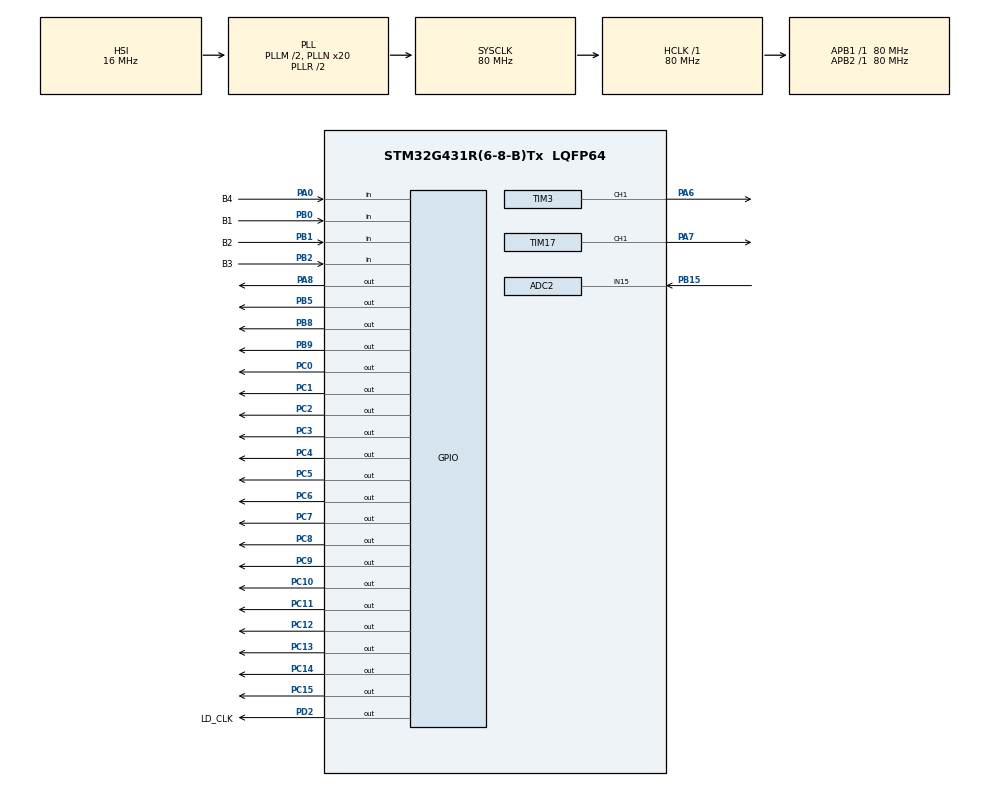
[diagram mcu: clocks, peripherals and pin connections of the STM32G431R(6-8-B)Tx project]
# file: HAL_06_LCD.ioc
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ADC2.Channel-0\#ChannelRegularConversion=ADC_CHANNEL_15
ADC2.NbrOfConversionFlag=1
ADC2.OffsetNumber-0\#ChannelRegularConversion=ADC_OFFSET_NONE
ADC2.Rank-0\#ChannelRegularConversion=1
ADC2.SamplingTime-0\#ChannelRegularConversion=ADC_SAMPLETIME_2CYCLES_5
Dma.ADC2.0.Direction=DMA_PERIPH_TO_MEMORY
Dma.ADC2.0.EventEnable=DISABLE
Dma.ADC2.0.Instance=DMA1_Channel1
Dma.ADC2.0.MemDataAlignment=DMA_MDATAALIGN_WORD
Dma.ADC2.0.MemInc=DMA_MINC_ENABLE
Dma.ADC2.0.Mode=DMA_CIRCULAR
Dma.ADC2.0.PeriphDataAlignment=DMA_PDATAALIGN_WORD
Dma.ADC2.0.PeriphInc=DMA_PINC_DISABLE
Dma.ADC2.0.Polarity=HAL_DMAMUX_REQ_GEN_RISING
Dma.ADC2.0.Priority=DMA_PRIORITY_LOW
Dma.ADC2.0.RequestNumber=1
Dma.ADC2.0.SignalID=NONE
Dma.ADC2.0.SyncEnable=DISABLE
Dma.ADC2.0.SyncPolarity=HAL_DMAMUX_SYNC_NO_EVENT
Dma.ADC2.0.SyncRequestNumber=1
Dma.ADC2.0.SyncSignalID=NONE
Dma.Request0=ADC2
Mcu.Family=STM32G4
Mcu.Name=STM32G431R(6-8-B)Tx
Mcu.Package=LQFP64
NVIC.DMA1_Channel1_IRQn=true\:0\:0\:false\:false\:true\:false\:true
NVIC.PriorityGroup=NVIC_PRIORITYGROUP_4
PA0.GPIO_Label=B4
PA0.GPIO_PuPd=GPIO_PULLUP
PA0.Signal=GPIO_Input
PA6.Signal=S_TIM3_CH1
PA7.Signal=S_TIM17_CH1
PA8.Signal=GPIO_Output
PB0.GPIO_Label=B1
PB0.GPIO_PuPd=GPIO_PULLUP
PB0.Signal=GPIO_Input
PB1.GPIO_Label=B2
PB1.GPIO_PuPd=GPIO_PULLUP
PB1.Signal=GPIO_Input
PB15.Mode=IN15-Single-Ended
PB15.Signal=ADC2_IN15
PB2.GPIO_Label=B3
PB2.GPIO_PuPd=GPIO_PULLUP
PB2.Signal=GPIO_Input
PB5.Signal=GPIO_Output
PB8-BOOT0.Signal=GPIO_Output
PB9.Signal=GPIO_Output
PC0.Signal=GPIO_Output
PC1.Signal=GPIO_Output
PC10.Signal=GPIO_Output
PC11.Signal=GPIO_Output
PC12.Signal=GPIO_Output
PC13.Signal=GPIO_Output
PC14-OSC32_IN.Signal=GPIO_Output
PC15-OSC32_OUT.Signal=GPIO_Output
PC2.Signal=GPIO_Output
PC3.Signal=GPIO_Output
PC4.Signal=GPIO_Output
PC5.Signal=GPIO_Output
PC6.Signal=GPIO_Output
PC7.Signal=GPIO_Output
PC8.Signal=GPIO_Output
PC9.Signal=GPIO_Output
PD2.GPIO_Label=LD_CLK
PD2.Signal=GPIO_Output
PF0-OSC_IN.Mode=HSE-External-Oscillator
PF0-OSC_IN.Signal=RCC_OSC_IN
PF1-OSC_OUT.Mode=HSE-External-Oscillator
PF1-OSC_OUT.Signal=RCC_OSC_OUT
ProjectManager.HeapSize=0x200
ProjectManager.StackSize=0x400
ProjectManager.TargetToolchain=MDK-ARM V5.27
RCC.ADC12Freq_Value=80000000
RCC.AHBFreq_Value=80000000
RCC.APB1Freq_Value=80000000
RCC.APB1TimFreq_Value=80000000
RCC.APB2Freq_Value=80000000
RCC.APB2TimFreq_Value=80000000
RCC.CortexFreq_Value=80000000
RCC.EXTERNAL_CLOCK_VALUE=12288000
RCC.HCLKFreq_Value=80000000
RCC.HSE_VALUE=24000000
RCC.HSI48_VALUE=48000000
RCC.HSI_VALUE=16000000
RCC.LSE_VALUE=32768
RCC.PLLM=RCC_PLLM_DIV2
RCC.PLLN=20
RCC.SYSCLKFreq_VALUE=80000000
RCC.SYSCLKSource=RCC_SYSCLKSOURCE_PLLCLK
RCC.USBFreq_Value=80000000
RCC.VCOOutputFreq_Value=160000000
SH.S_TIM17_CH1.0=TIM17_CH1,PWM Generation1 CH1
SH.S_TIM3_CH1.0=TIM3_CH1,PWM Generation1 CH1
TIM17.Channel=TIM_CHANNEL_1
TIM17.PeriodNoDither=100-1
TIM17.Prescaler=8000-1
TIM3.Channel-PWM\ Generation1\ CH1=TIM_CHANNEL_1
TIM3.PeriodNoDither=100-1
TIM3.Prescaler=8000-1
VP_SYS_VS_DBSignals.Mode=DisableDeadBatterySignals
VP_TIM17_VS_ClockSourceINT.Mode=Enable_Timer
VP_TIM3_VS_ClockSourceINT.Mode=Internal
board=custom

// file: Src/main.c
/* USER CODE BEGIN Header */
/**
  ******************************************************************************
  * @file           : main.c
  * @brief          : Main program body
  ******************************************************************************
  * @attention
  *
  * <h2><center>&copy; Copyright (c) 2021 STMicroelectronics.
  * All rights reserved.</center></h2>
  *
  * This software component is licensed by ST under BSD 3-Clause license,
  * the "License"; You may not use this file except in compliance with the
  * License. You may obtain a copy of the License at:
  *                        opensource.org/licenses/BSD-3-Clause
  *
  ******************************************************************************
  */
/* USER CODE END Header */
#include "main.h"

/* USER CODE BEGIN Includes */
#include <stdio.h>
#include "lcd.h"
/* USER CODE END Includes */

/* USER CODE BEGIN PD */
//界面
#define DISPLAYVIEW 1
#define SETTINGVIEW 2

//模式
#define AUTOMODE 1
#define MANUMODE 2
/* USER CODE END PD */

/* USER CODE BEGIN PM */
#define KB1 HAL_GPIO_ReadPin(B1_GPIO_Port, B1_Pin)
#define KB2 HAL_GPIO_ReadPin(B2_GPIO_Port, B2_Pin)
#define KB3 HAL_GPIO_ReadPin(B3_GPIO_Port, B3_Pin)
#define KB4 HAL_GPIO_ReadPin(B4_GPIO_Port, B4_Pin)
/* USER CODE END PM */

ADC_HandleTypeDef hadc2;
DMA_HandleTypeDef hdma_adc2;

TIM_HandleTypeDef htim3;
TIM_HandleTypeDef htim17;

/* USER CODE BEGIN PV */
_Bool Key_Flag = 0;//按键的标志位
_Bool Adc_Flag = 0;//ADC的标志位

uint32_t Led_Val;
uint8_t View_Model = DISPLAYVIEW;
float V_Val = 0.0;//测得的电压值
uint32_t Adc_buf[10];//存放ADC采集的值
uint8_t Mode_Val = AUTOMODE;

uint8_t PA6_Val = 10;
uint8_t PA7_Val = 10;
/* USER CODE END PV */

void SystemClock_Config(void);
static void MX_GPIO_Init(void);
static void MX_DMA_Init(void);
static void MX_TIM3_Init(void);
static void MX_ADC2_Init(void);
static void MX_TIM17_Init(void);

/* USER CODE BEGIN 0 */
void TurnOff_LEDS()
{
	Led_Val = 0xFF00;
	HAL_GPIO_WritePin(LD_CLK_GPIO_Port, LD_CLK_Pin, GPIO_PIN_SET);
	GPIOC->ODR = Led_Val;
	HAL_GPIO_WritePin(LD_CLK_GPIO_Port, LD_CLK_Pin, GPIO_PIN_RESET);
}

void TurnOn_LED(uint8_t _led)
{
	Led_Val &= ~(0x01 << ( 7 + _led));
	HAL_GPIO_WritePin(LD_CLK_GPIO_Port, LD_CLK_Pin, GPIO_PIN_SET);
	GPIOC->ODR = Led_Val;
	HAL_GPIO_WritePin(LD_CLK_GPIO_Port, LD_CLK_Pin, GPIO_PIN_RESET);
}

void TurnOff_LED(uint8_t _led)
{
	Led_Val |= (0x01 << ( 7 + _led));
	HAL_GPIO_WritePin(LD_CLK_GPIO_Port, LD_CLK_Pin, GPIO_PIN_SET);
	GPIOC->ODR = Led_Val;
	HAL_GPIO_WritePin(LD_CLK_GPIO_Port, LD_CLK_Pin, GPIO_PIN_RESET);
}

void Display_Proc()
{
	uint8_t buf[30];

	switch(View_Model)
	{
		case DISPLAYVIEW:
		{
			sprintf((char *)buf, "      Data");
			LCD_DisplayStringLine(Line0, buf);
			sprintf((char *)buf, "    V:%.2fV", V_Val);
			LCD_DisplayStringLine(Line2, buf);
			if(Mode_Val == AUTOMODE)
			{
				uint8_t mode_buf[] = "AUTO";
				sprintf((char *)buf, "    Mode:%s", mode_buf);
				__HAL_TIM_SET_COMPARE(&htim3, TIM_CHANNEL_1, (uint32_t)V_Val/3.3f*100);
				__HAL_TIM_SET_COMPARE(&htim17, TIM_CHANNEL_1, (uint32_t)V_Val/3.3f*100);
				HAL_TIM_PWM_Start(&htim3, TIM_CHANNEL_1);
				HAL_TIM_PWM_Start(&htim17, TIM_CHANNEL_1);
			}else{
				uint8_t mode_buf[] = "MANU";
				__HAL_TIM_SET_COMPARE(&htim3, TIM_CHANNEL_1, (uint32_t)PA6_Val);
				__HAL_TIM_SET_COMPARE(&htim17, TIM_CHANNEL_1, (uint32_t)PA7_Val);
				HAL_TIM_PWM_Start(&htim3, TIM_CHANNEL_1);
				HAL_TIM_PWM_Start(&htim17, TIM_CHANNEL_1);
				sprintf((char *)buf, "    Mode:%s", mode_buf);
			}
			LCD_DisplayStringLine(Line4, buf);
		}
			break;
		case SETTINGVIEW:
		{
			sprintf((char *)buf, "      Para");
			LCD_DisplayStringLine(Line0, buf);
			sprintf((char *)buf, "    PA6:%d%%", PA6_Val);
			LCD_DisplayStringLine(Line2, buf);
			sprintf((char *)buf, "    PA7:%d%%", PA7_Val);
			LCD_DisplayStringLine(Line4, buf);
		}
			break;
	}
}
//ADC均值滤波
float Adc_Proc(uint32_t _buf[])
{
	uint8_t i, j;
	float Adc_Val = 0;
	float temp;
	for(i = 0; i < 10 - 1; i++)
	{
		for(j = 0; j < 10 - 1 - i; j++)
		{
			if (_buf[j] < _buf[j+1])
			{
					temp = _buf[j];
					_buf[j] = _buf[j+1];
					_buf[j+1] = temp;
			}
		}
	}

	for(i = 1; i < 10-1; i++)
    	Adc_Val += _buf[i];
	return (Adc_Val / 8) / 4096 * 3.3f;
}

void Key_Proc()
{
	//按键1 用于界面切换
	static uint8_t b1_sum;
	if(KB1 == 0)
	{
		b1_sum++;
		if(b1_sum == 1)
		{
			if(View_Model == DISPLAYVIEW)
			{
				View_Model = SETTINGVIEW;
				TurnOff_LED(2);
				LCD_Clear(Black);
			}else if(View_Model == SETTINGVIEW){
				View_Model = DISPLAYVIEW;
				TurnOn_LED(2);
				LCD_Clear(Black);
			}
		}
	}
	if(KB1 == 1)
	{
		b1_sum = 0;
	}

	//按键2 用于PA6的占空比增加
	static uint8_t b2_sum;
	if(KB2 == 0)
	{
		b2_sum++;
		if(b2_sum == 1 && View_Model == SETTINGVIEW)
		{
			PA6_Val += 10;
			if(PA6_Val > 90)
				PA6_Val = 10;
		}
	}
	if(KB2 == 1)
	{
		b2_sum = 0;
	}

	//按键3 用于PA7的占空比增加
	static uint8_t b3_sum;
	if(KB3 == 0)
	{
		b3_sum++;
		if(b3_sum == 1 && View_Model == SETTINGVIEW)
		{
			PA7_Val += 10;
			if(PA7_Val > 90)
				PA7_Val = 10;
		}
	}
	if(KB3 == 1)
	{
		b3_sum = 0;
	}

	//按键4 用于模式切换
	static uint8_t b4_sum;
	if(KB4 == 0)
	{
		b4_sum++;
		if(b4_sum == 1)
		{
			if(Mode_Val == AUTOMODE)
			{
				Mode_Val = MANUMODE;
				TurnOff_LED(1);
			}else if(Mode_Val == MANUMODE){
				Mode_Val = AUTOMODE;
				TurnOn_LED(1);
			}
		}
	}
	if(KB4 == 1)
	{
		b4_sum = 0;
	}
}
/* USER CODE END 0 */

int main(void)
{

  /* MCU Configuration--------------------------------------------------------*/

  /* Reset of all peripherals, Initializes the Flash interface and the Systick. */
  HAL_Init();

  /* Configure the system clock */
  SystemClock_Config();

  /* Initialize all configured peripherals */
  MX_GPIO_Init();
  MX_DMA_Init();
  MX_TIM3_Init();
  MX_ADC2_Init();
  MX_TIM17_Init();
  /* USER CODE BEGIN 2 */

	LCD_Init();
	//校准ADC
	HAL_ADCEx_Calibration_Start(&hadc2, ADC_SINGLE_ENDED);
	//开启ADC的DMA方式采集
	HAL_ADC_Start_DMA(&hadc2, (uint32_t *)&Adc_buf,10);
  /* USER CODE END 2 */

  /* Infinite loop */
  /* USER CODE BEGIN WHILE */

	LCD_Clear(Black);
	LCD_SetBackColor(Black);
	LCD_SetTextColor(White);
	TurnOff_LEDS();
	TurnOn_LED(1);
	TurnOn_LED(2);
  while (1)
  {
		Display_Proc();
    /* USER CODE END WHILE */

    /* USER CODE BEGIN 3 */
		if(Key_Flag)
		{
			Key_Flag = 0;
			Key_Proc();
		}
		if(Adc_Flag)
		{
			Adc_Flag = 0;
			HAL_ADC_Start_DMA(&hadc2, (uint32_t *)&Adc_buf,10);
		}

		if(V_Val >= 3.29f || V_Val == 0.0f)
		{
			if(V_Val == 0.0f)
			{
				__HAL_TIM_SET_COMPARE(&htim3, TIM_CHANNEL_1, 0);
				__HAL_TIM_SET_COMPARE(&htim17, TIM_CHANNEL_1, 0);
			}else{
				//占空比拉满设置成高电平
				__HAL_TIM_SET_COMPARE(&htim3, TIM_CHANNEL_1, 100);
				__HAL_TIM_SET_COMPARE(&htim17, TIM_CHANNEL_1, 100);
			}
		}

  }
  /* USER CODE END 3 */
}

void SystemClock_Config(void)
{
  RCC_OscInitTypeDef RCC_OscInitStruct = {0};
  RCC_ClkInitTypeDef RCC_ClkInitStruct = {0};
  RCC_PeriphCLKInitTypeDef PeriphClkInit = {0};

  /** Configure the main internal regulator output voltage
  */
  HAL_PWREx_ControlVoltageScaling(PWR_REGULATOR_VOLTAGE_SCALE1);
  /** Initializes the RCC Oscillators according to the specified parameters
  * in the RCC_OscInitTypeDef structure.
  */
  RCC_OscInitStruct.OscillatorType = RCC_OSCILLATORTYPE_HSI;
  RCC_OscInitStruct.HSIState = RCC_HSI_ON;
  RCC_OscInitStruct.HSICalibrationValue = RCC_HSICALIBRATION_DEFAULT;
  RCC_OscInitStruct.PLL.PLLState = RCC_PLL_ON;
  RCC_OscInitStruct.PLL.PLLSource = RCC_PLLSOURCE_HSI;
  RCC_OscInitStruct.PLL.PLLM = RCC_PLLM_DIV2;
  RCC_OscInitStruct.PLL.PLLN = 20;
  RCC_OscInitStruct.PLL.PLLP = RCC_PLLP_DIV2;
  RCC_OscInitStruct.PLL.PLLQ = RCC_PLLQ_DIV2;
  RCC_OscInitStruct.PLL.PLLR = RCC_PLLR_DIV2;
  if (HAL_RCC_OscConfig(&RCC_OscInitStruct) != HAL_OK)
  {
    Error_Handler();
  }
  /** Initializes the CPU, AHB and APB buses clocks
  */
  RCC_ClkInitStruct.ClockType = RCC_CLOCKTYPE_HCLK|RCC_CLOCKTYPE_SYSCLK
                              |RCC_CLOCKTYPE_PCLK1|RCC_CLOCKTYPE_PCLK2;
  RCC_ClkInitStruct.SYSCLKSource = RCC_SYSCLKSOURCE_PLLCLK;
  RCC_ClkInitStruct.AHBCLKDivider = RCC_SYSCLK_DIV1;
  RCC_ClkInitStruct.APB1CLKDivider = RCC_HCLK_DIV1;
  RCC_ClkInitStruct.APB2CLKDivider = RCC_HCLK_DIV1;

  if (HAL_RCC_ClockConfig(&RCC_ClkInitStruct, FLASH_LATENCY_2) != HAL_OK)
  {
    Error_Handler();
  }
  /** Initializes the peripherals clocks
  */
  PeriphClkInit.PeriphClockSelection = RCC_PERIPHCLK_ADC12;
  PeriphClkInit.Adc12ClockSelection = RCC_ADC12CLKSOURCE_SYSCLK;
  if (HAL_RCCEx_PeriphCLKConfig(&PeriphClkInit) != HAL_OK)
  {
    Error_Handler();
  }
}

static void MX_ADC2_Init(void)
{

  ADC_ChannelConfTypeDef sConfig = {0};

  /** Common config
  */
  hadc2.Instance = ADC2;
  hadc2.Init.ClockPrescaler = ADC_CLOCK_SYNC_PCLK_DIV2;
  hadc2.Init.Resolution = ADC_RESOLUTION_12B;
  hadc2.Init.DataAlign = ADC_DATAALIGN_RIGHT;
  hadc2.Init.GainCompensation = 0;
  hadc2.Init.ScanConvMode = ADC_SCAN_DISABLE;
  hadc2.Init.EOCSelection = ADC_EOC_SINGLE_CONV;
  hadc2.Init.LowPowerAutoWait = DISABLE;
  hadc2.Init.ContinuousConvMode = DISABLE;
  hadc2.Init.NbrOfConversion = 1;
  hadc2.Init.DiscontinuousConvMode = DISABLE;
  hadc2.Init.ExternalTrigConv = ADC_SOFTWARE_START;
  hadc2.Init.ExternalTrigConvEdge = ADC_EXTERNALTRIGCONVEDGE_NONE;
  hadc2.Init.DMAContinuousRequests = DISABLE;
  hadc2.Init.Overrun = ADC_OVR_DATA_PRESERVED;
  hadc2.Init.OversamplingMode = DISABLE;
  if (HAL_ADC_Init(&hadc2) != HAL_OK)
  {
    Error_Handler();
  }
  /** Configure Regular Channel
  */
  sConfig.Channel = ADC_CHANNEL_15;
  sConfig.Rank = ADC_REGULAR_RANK_1;
  sConfig.SamplingTime = ADC_SAMPLETIME_2CYCLES_5;
  sConfig.SingleDiff = ADC_SINGLE_ENDED;
  sConfig.OffsetNumber = ADC_OFFSET_NONE;
  sConfig.Offset = 0;
  if (HAL_ADC_ConfigChannel(&hadc2, &sConfig) != HAL_OK)
  {
    Error_Handler();
  }

}

static void MX_TIM3_Init(void)
{

  TIM_ClockConfigTypeDef sClockSourceConfig = {0};
  TIM_MasterConfigTypeDef sMasterConfig = {0};
  TIM_OC_InitTypeDef sConfigOC = {0};

  htim3.Instance = TIM3;
  htim3.Init.Prescaler = 8000-1;
  htim3.Init.CounterMode = TIM_COUNTERMODE_UP;
  htim3.Init.Period = 99;
  htim3.Init.ClockDivision = TIM_CLOCKDIVISION_DIV1;
  htim3.Init.AutoReloadPreload = TIM_AUTORELOAD_PRELOAD_DISABLE;
  if (HAL_TIM_Base_Init(&htim3) != HAL_OK)
  {
    Error_Handler();
  }
  sClockSourceConfig.ClockSource = TIM_CLOCKSOURCE_INTERNAL;
  if (HAL_TIM_ConfigClockSource(&htim3, &sClockSourceConfig) != HAL_OK)
  {
    Error_Handler();
  }
  if (HAL_TIM_PWM_Init(&htim3) != HAL_OK)
  {
    Error_Handler();
  }
  sMasterConfig.MasterOutputTrigger = TIM_TRGO_RESET;
  sMasterConfig.MasterSlaveMode = TIM_MASTERSLAVEMODE_DISABLE;
  if (HAL_TIMEx_MasterConfigSynchronization(&htim3, &sMasterConfig) != HAL_OK)
  {
    Error_Handler();
  }
  sConfigOC.OCMode = TIM_OCMODE_PWM1;
  sConfigOC.Pulse = 0;
  sConfigOC.OCPolarity = TIM_OCPOLARITY_HIGH;
  sConfigOC.OCFastMode = TIM_OCFAST_DISABLE;
  if (HAL_TIM_PWM_ConfigChannel(&htim3, &sConfigOC, TIM_CHANNEL_1) != HAL_OK)
  {
    Error_Handler();
  }
  HAL_TIM_MspPostInit(&htim3);

}

static void MX_TIM17_Init(void)
{

  TIM_OC_InitTypeDef sConfigOC = {0};
  TIM_BreakDeadTimeConfigTypeDef sBreakDeadTimeConfig = {0};

  htim17.Instance = TIM17;
  htim17.Init.Prescaler = 8000-1;
  htim17.Init.CounterMode = TIM_COUNTERMODE_UP;
  htim17.Init.Period = 99;
  htim17.Init.ClockDivision = TIM_CLOCKDIVISION_DIV1;
  htim17.Init.RepetitionCounter = 0;
  htim17.Init.AutoReloadPreload = TIM_AUTORELOAD_PRELOAD_DISABLE;
  if (HAL_TIM_Base_Init(&htim17) != HAL_OK)
  {
    Error_Handler();
  }
  if (HAL_TIM_PWM_Init(&htim17) != HAL_OK)
  {
    Error_Handler();
  }
  sConfigOC.OCMode = TIM_OCMODE_PWM1;
  sConfigOC.Pulse = 0;
  sConfigOC.OCPolarity = TIM_OCPOLARITY_HIGH;
  sConfigOC.OCNPolarity = TIM_OCNPOLARITY_HIGH;
  sConfigOC.OCFastMode = TIM_OCFAST_DISABLE;
  sConfigOC.OCIdleState = TIM_OCIDLESTATE_RESET;
  sConfigOC.OCNIdleState = TIM_OCNIDLESTATE_RESET;
  if (HAL_TIM_PWM_ConfigChannel(&htim17, &sConfigOC, TIM_CHANNEL_1) != HAL_OK)
  {
    Error_Handler();
  }
  sBreakDeadTimeConfig.OffStateRunMode = TIM_OSSR_DISABLE;
  sBreakDeadTimeConfig.OffStateIDLEMode = TIM_OSSI_DISABLE;
  sBreakDeadTimeConfig.LockLevel = TIM_LOCKLEVEL_OFF;
  sBreakDeadTimeConfig.DeadTime = 0;
  sBreakDeadTimeConfig.BreakState = TIM_BREAK_DISABLE;
  sBreakDeadTimeConfig.BreakPolarity = TIM_BREAKPOLARITY_HIGH;
  sBreakDeadTimeConfig.BreakFilter = 0;
  sBreakDeadTimeConfig.AutomaticOutput = TIM_AUTOMATICOUTPUT_DISABLE;
  if (HAL_TIMEx_ConfigBreakDeadTime(&htim17, &sBreakDeadTimeConfig) != HAL_OK)
  {
    Error_Handler();
  }
  HAL_TIM_MspPostInit(&htim17);

}

static void MX_DMA_Init(void)
{

  /* DMA controller clock enable */
  __HAL_RCC_DMAMUX1_CLK_ENABLE();
  __HAL_RCC_DMA1_CLK_ENABLE();

  /* DMA interrupt init */
  /* DMA1_Channel1_IRQn interrupt configuration */
  HAL_NVIC_SetPriority(DMA1_Channel1_IRQn, 0, 0);
  HAL_NVIC_EnableIRQ(DMA1_Channel1_IRQn);

}

static void MX_GPIO_Init(void)
{
  GPIO_InitTypeDef GPIO_InitStruct = {0};

  /* GPIO Ports Clock Enable */
  __HAL_RCC_GPIOC_CLK_ENABLE();
  __HAL_RCC_GPIOF_CLK_ENABLE();
  __HAL_RCC_GPIOA_CLK_ENABLE();
  __HAL_RCC_GPIOB_CLK_ENABLE();
  __HAL_RCC_GPIOD_CLK_ENABLE();

  /*Configure GPIO pin Output Level */
  HAL_GPIO_WritePin(GPIOC, GPIO_PIN_13|GPIO_PIN_14|GPIO_PIN_15|GPIO_PIN_0
                          |GPIO_PIN_1|GPIO_PIN_2|GPIO_PIN_3|GPIO_PIN_4
                          |GPIO_PIN_5|GPIO_PIN_6|GPIO_PIN_7|GPIO_PIN_8
                          |GPIO_PIN_9|GPIO_PIN_10|GPIO_PIN_11|GPIO_PIN_12, GPIO_PIN_RESET);

  /*Configure GPIO pin Output Level */
  HAL_GPIO_WritePin(GPIOA, GPIO_PIN_8, GPIO_PIN_RESET);

  /*Configure GPIO pin Output Level */
  HAL_GPIO_WritePin(LD_CLK_GPIO_Port, LD_CLK_Pin, GPIO_PIN_RESET);

  /*Configure GPIO pin Output Level */
  HAL_GPIO_WritePin(GPIOB, GPIO_PIN_5|GPIO_PIN_8|GPIO_PIN_9, GPIO_PIN_RESET);

  /*Configure GPIO pins : PC13 PC14 PC15 PC0
                           PC1 PC2 PC3 PC4
                           PC5 PC6 PC7 PC8
                           PC9 PC10 PC11 PC12 */
  GPIO_InitStruct.Pin = GPIO_PIN_13|GPIO_PIN_14|GPIO_PIN_15|GPIO_PIN_0
                          |GPIO_PIN_1|GPIO_PIN_2|GPIO_PIN_3|GPIO_PIN_4
                          |GPIO_PIN_5|GPIO_PIN_6|GPIO_PIN_7|GPIO_PIN_8
                          |GPIO_PIN_9|GPIO_PIN_10|GPIO_PIN_11|GPIO_PIN_12;
  GPIO_InitStruct.Mode = GPIO_MODE_OUTPUT_PP;
  GPIO_InitStruct.Pull = GPIO_NOPULL;
  GPIO_InitStruct.Speed = GPIO_SPEED_FREQ_LOW;
  HAL_GPIO_Init(GPIOC, &GPIO_InitStruct);

  /*Configure GPIO pin : B4_Pin */
  GPIO_InitStruct.Pin = B4_Pin;
  GPIO_InitStruct.Mode = GPIO_MODE_INPUT;
  GPIO_InitStruct.Pull = GPIO_PULLUP;
  HAL_GPIO_Init(B4_GPIO_Port, &GPIO_InitStruct);

  /*Configure GPIO pins : B1_Pin B2_Pin B3_Pin */
  GPIO_InitStruct.Pin = B1_Pin|B2_Pin|B3_Pin;
  GPIO_InitStruct.Mode = GPIO_MODE_INPUT;
  GPIO_InitStruct.Pull = GPIO_PULLUP;
  HAL_GPIO_Init(GPIOB, &GPIO_InitStruct);

  /*Configure GPIO pin : PA8 */
  GPIO_InitStruct.Pin = GPIO_PIN_8;
  GPIO_InitStruct.Mode = GPIO_MODE_OUTPUT_PP;
  GPIO_InitStruct.Pull = GPIO_NOPULL;
  GPIO_InitStruct.Speed = GPIO_SPEED_FREQ_LOW;
  HAL_GPIO_Init(GPIOA, &GPIO_InitStruct);

  /*Configure GPIO pin : LD_CLK_Pin */
  GPIO_InitStruct.Pin = LD_CLK_Pin;
  GPIO_InitStruct.Mode = GPIO_MODE_OUTPUT_PP;
  GPIO_InitStruct.Pull = GPIO_NOPULL;
  GPIO_InitStruct.Speed = GPIO_SPEED_FREQ_LOW;
  HAL_GPIO_Init(LD_CLK_GPIO_Port, &GPIO_InitStruct);

  /*Configure GPIO pins : PB5 PB8 PB9 */
  GPIO_InitStruct.Pin = GPIO_PIN_5|GPIO_PIN_8|GPIO_PIN_9;
  GPIO_InitStruct.Mode = GPIO_MODE_OUTPUT_PP;
  GPIO_InitStruct.Pull = GPIO_NOPULL;
  GPIO_InitStruct.Speed = GPIO_SPEED_FREQ_LOW;
  HAL_GPIO_Init(GPIOB, &GPIO_InitStruct);

}

/* USER CODE BEGIN 4 */
void HAL_ADC_ConvCpltCallback(ADC_HandleTypeDef* hadc)
{
  if(hadc->Instance == ADC2)
  {
		V_Val = Adc_Proc(Adc_buf);
  }
}
/* USER CODE END 4 */

void Error_Handler(void)
{
}

/************************ (C) COPYRIGHT STMicroelectronics *****END OF FILE****/
